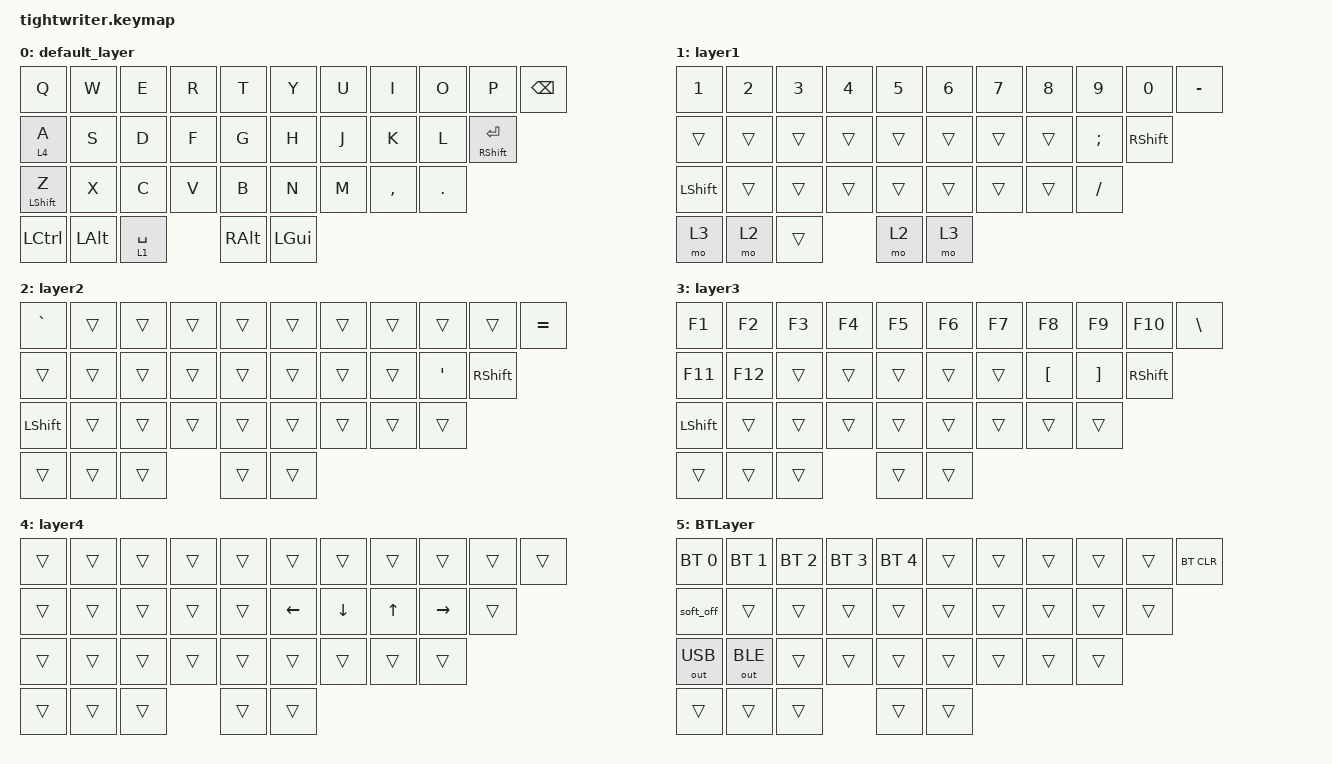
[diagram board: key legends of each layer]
#include <behaviors.dtsi>
#include <dt-bindings/zmk/keys.h>
#include <dt-bindings/zmk/bt.h>
#include <dt-bindings/zmk/outputs.h>

&soft_off {
    hold-time-ms = <500>; // Only turn off it the key is held for 1 seconds or longer.
};

/ {
    combos {
        compatible = "zmk,combos";

        combo_esc {
            timeout-ms = <50>;
            key-positions = <0 1>;
            bindings = <&kp ESC>;
        };

        combo_delete {
            timeout-ms = <50>;
            key-positions = <9 10>;
            bindings = <&kp DELETE>;
        };

        combo_tab {
            timeout-ms = <50>;
            key-positions = <11 12>;
            bindings = <&kp TAB>;
        };

        combo_GUI {
            timeout-ms = <50>;
            key-positions = <30 31>;
            bindings = <&kp LGUI>;
        };

        combo_BTLayer {
            timeout-ms = <50>;
            key-positions = <33 34>;
            bindings = <&mo 5>;
        };
    };

    keymap {
        compatible = "zmk,keymap";

        default_layer {
            bindings = <
    &kp Q       &kp W   &kp E   &kp R   &kp T   &kp Y   &kp U   &kp I       &kp O   &kp P   &kp BACKSPACE
    &lt 4 A     &kp S   &kp D   &kp F   &kp G   &kp H   &kp J   &kp K       &kp L   &mt RSHFT ENTER
    &mt LSHFT Z &kp X   &kp C   &kp V   &kp B   &kp N   &kp M   &kp COMMA   &kp DOT
    &kp LCTRL   &kp LALT  &lt 1 SPACE  &kp RALT  &kp LGUI
            >;
        };

        layer1 {
            bindings = <
    &kp N1      &kp N2  &kp N3  &kp N4  &kp N5  &kp N6  &kp N7  &kp N8  &kp N9  &kp N0  &kp MINUS
    &trans      &trans  &trans  &trans  &trans  &trans  &trans  &trans  &kp SEMICOLON  &kp RSHFT
    &kp LSHFT   &trans  &trans  &trans  &trans  &trans  &trans  &trans  &kp SLASH
    &mo 3   &mo 2   &trans  &mo 2   &mo 3
            >;
        };

        layer2 {
            bindings = <
    &kp GRAVE   &trans  &trans  &trans  &trans  &trans  &trans  &trans  &trans   &trans   &kp EQUAL
    &trans      &trans  &trans  &trans  &trans  &trans  &trans  &trans  &kp SINGLE_QUOTE  &kp RSHFT
    &kp LSHFT   &trans  &trans  &trans  &trans  &trans  &trans  &trans  &trans
    &trans  &trans  &trans  &trans  &trans
            >;
        };

        layer3 {
            bindings = <
    &kp F1     &kp F2   &kp F3  &kp F4  &kp F5  &kp F6  &kp F7  &kp F8  &kp F9  &kp F10  &kp BACKSLASH
    &kp F11    &kp F12  &trans  &trans  &trans  &trans  &trans  &kp LBKT  &kp RBKT  &kp RSHFT
    &kp LSHFT  &trans   &trans  &trans  &trans  &trans  &trans  &trans  &trans
    &trans  &trans  &trans  &trans  &trans
            >;
        };

        layer4 {
            bindings = <
    &trans  &trans  &trans  &trans  &trans  &trans      &trans      &trans  &trans  &trans  &trans
    &trans  &trans  &trans  &trans  &trans  &kp LEFT    &kp DOWN    &kp UP  &kp RIGHT   &trans
    &trans  &trans  &trans  &trans  &trans  &trans      &trans      &trans  &trans
    &trans  &trans  &trans  &trans  &trans
            >;
        };

        BTLayer {
            bindings = <
    &bt BT_SEL 0    &bt BT_SEL 1    &bt BT_SEL 2    &bt BT_SEL 3    &bt BT_SEL 4    &trans  &trans  &trans  &trans  &trans  &bt BT_CLR
    &soft_off       &trans          &trans          &trans          &trans          &trans  &trans  &trans  &trans  &trans
    &out OUT_USB    &out OUT_BLE    &trans          &trans          &trans          &trans  &trans  &trans  &trans 
    &trans  &trans  &trans  &trans  &trans 
            >;
        };

    };
};
